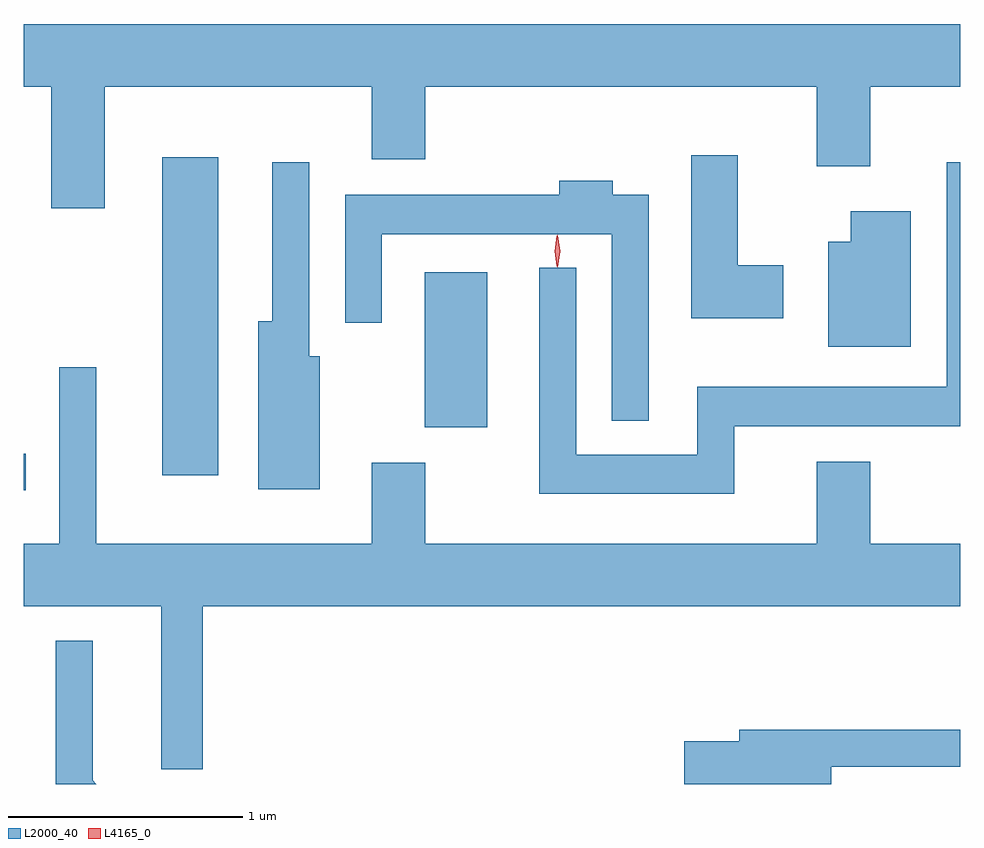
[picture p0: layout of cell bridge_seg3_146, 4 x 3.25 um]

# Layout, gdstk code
import gdstk
lib = gdstk.Library(unit=1e-6, precision=1e-09)
def R(c, l, rs):  # rectangles x0, y0, x1, y1
    for r in rs: c.add(gdstk.rectangle(r[:2], r[2:], *l))
def P(c, l, *ps):  # polygons
    for p in ps: c.add(gdstk.Polygon(p, *l))
L2000_40 = (2000, 40)
L4165_0 = (4165, 0)

bridge_seg3_146 = lib.new_cell('bridge_seg3_146')
R(bridge_seg3_146, L2000_40, [(899.164,1186.451,899.173,1186.609), (899.756,1186.516,899.994,1187.874), (900.876,1186.721,901.144,1187.384)])
P(bridge_seg3_146, L2000_40, [(899.509,1188.176),(900.651,1188.176),(900.651,1187.866),(900.879,1187.866),(900.879,1188.176),(902.551,1188.176),(902.551,1187.836),(902.779,1187.836),(902.779,1188.176),(903.164,1188.176),(903.164,1188.444),(899.164,1188.444),(899.164,1188.176),(899.281,1188.176),(899.281,1187.656),(899.509,1187.656)],
  [(902.409,1187.414),(902.214,1187.414),(902.214,1187.884),(902.016,1187.884),(902.016,1187.186),(902.409,1187.186)],
  [(902.199,1186.726),(903.164,1186.726),(903.164,1187.853),(903.106,1187.853),(903.106,1186.894),(902.041,1186.894),(902.041,1186.604),(901.524,1186.604),(901.524,1187.403),(901.366,1187.403),(901.366,1186.436),(902.199,1186.436)],
  [(900.429,1187.024),(900.384,1187.024),(900.384,1187.853),(900.226,1187.853),(900.226,1187.174),(900.166,1187.174),(900.166,1186.456),(900.429,1186.456)],
  [(901.834,1187.714),(901.679,1187.714),(901.679,1187.774),(901.451,1187.774),(901.451,1187.714),(900.536,1187.714),(900.536,1187.168),(900.694,1187.168),(900.694,1187.546),(901.676,1187.546),(901.676,1186.748),(901.834,1186.748)],
  [(902.954,1187.644),(902.696,1187.644),(902.696,1187.514),(902.601,1187.514),(902.601,1187.066),(902.954,1187.066)],
  [(899.474,1186.978),(899.316,1186.978),(899.316,1186.224),(899.164,1186.224),(899.164,1185.956),(899.751,1185.956),(899.751,1185.261),(899.929,1185.261),(899.929,1185.956),(903.164,1185.956),(903.164,1186.224),(902.779,1186.224),(902.779,1186.574),(902.551,1186.574),(902.551,1186.224),(900.879,1186.224),(900.879,1186.569),(900.651,1186.569),(900.651,1186.224),(899.474,1186.224)],
  [(899.459,1185.212),(899.459,1185.808),(899.301,1185.808),(899.301,1185.197),(899.474,1185.197)],
  [(902.614,1185.271),(903.164,1185.271),(903.164,1185.429),(902.221,1185.429),(902.221,1185.379),(901.986,1185.379),(901.986,1185.197),(902.614,1185.197)])
P(bridge_seg3_146, L4165_0, [(901.444,1187.404),(901.435,1187.474),(901.444,1187.542),(901.445,1187.543),(901.445,1187.542),(901.455,1187.474),(901.445,1187.404),(901.445,1187.404)],
  [(901.442,1187.407),(901.441,1187.408),(901.432,1187.474),(901.441,1187.54),(901.442,1187.54),(901.442,1187.54),(901.452,1187.474),(901.442,1187.408)])

lib.write_gds('bridge_seg3_146.gds')
